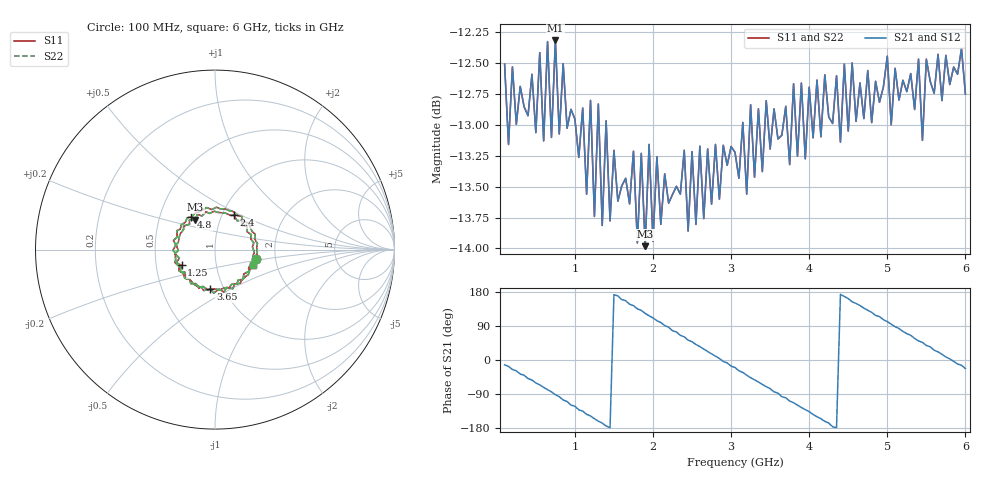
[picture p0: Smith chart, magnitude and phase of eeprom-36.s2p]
! Created with skrf 2.0.0 (http://scikit-rf.org).
# Hz S RI R 50.0
!freq ReS11 ImS11 ReS21 ImS21 ReS12 ImS12 ReS22 ImS22
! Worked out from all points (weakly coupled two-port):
!   119 points, 100 MHz to 6 GHz, reference 50 ohm
!   highest |S21| = -12.32 dB at 750 MHz (marker M1); lowest = -14.0 dB at 1.9 GHz (marker M2)
!   lowest |S11| = -14.0 dB at 1.9 GHz (marker M3), VSWR 1.50, Z = 38.2 + j13.3 ohm
!   |S11| at or under -10 dB: start of sweep to end of sweep
!   |S22| runs from -14.0 to -12.3 dB; largest |S21 - S12| = 0
!   S11 on the Smith chart (normalised r, x): 100 MHz: 1.59, -0.18; 1.25 GHz: 0.68, -0.12; 2.4 GHz: 1.14, +0.46; 3.65 GHz: 0.86, -0.40; 4.8 GHz: 0.72, +0.28; 6 GHz: 1.51, -0.28
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1e8  0.2311 -0.0521  0.2311 -0.0521  0.2311 -0.0521  0.2311 -0.0521
4.5e8  0.1416 -0.1872  0.1416 -0.1872  0.1416 -0.1872  0.1416 -0.1872
7.5e8  -0.00722 -0.2421  -0.00722 -0.2421  -0.00722 -0.2421  -0.00722 -0.2421
1.1e9  -0.1602 -0.1614  -0.1602 -0.1614  -0.1602 -0.1614  -0.1602 -0.1614
1.25e9  -0.1862 -0.087  -0.1862 -0.087  -0.1862 -0.087  -0.1862 -0.087
1.3e9  -0.2163 -0.0729  -0.2163 -0.0729  -0.2163 -0.0729  -0.2163 -0.0729
1.35e9  -0.1983 -0.0474  -0.1983 -0.0474  -0.1983 -0.0474  -0.1983 -0.0474
1.5e9  -0.2167 0.0289  -0.2167 0.0289  -0.2167 0.0289  -0.2167 0.0289
1.9e9  -0.1089 0.1677  -0.1089 0.1677  -0.1089 0.1677  -0.1089 0.1677
1.95e9  -0.0986 0.1965  -0.0986 0.1965  -0.0986 0.1965  -0.0986 0.1965
2.1e9  -0.0317 0.2016  -0.0317 0.2016  -0.0317 0.2016  -0.0317 0.2016
2.4e9  0.1054 0.1916  0.1054 0.1916  0.1054 0.1916  0.1054 0.1916
2.7e9  0.2024 0.0833  0.2024 0.0833  0.2024 0.0833  0.2024 0.0833
3.05e9  0.2055 -0.0735  0.2055 -0.0735  0.2055 -0.0735  0.2055 -0.0735
3.35e9  0.1208 -0.1925  0.1208 -0.1925  0.1208 -0.1925  0.1208 -0.1925
3.65e9  -0.0267 -0.2201  -0.0267 -0.2201  -0.0267 -0.2201  -0.0267 -0.2201
4.05e9  -0.1782 -0.131  -0.1782 -0.131  -0.1782 -0.131  -0.1782 -0.131
4.45e9  -0.2314 0.0509  -0.2314 0.0509  -0.2314 0.0509  -0.2314 0.0509
4.8e9  -0.1312 0.182  -0.1312 0.182  -0.1312 0.182  -0.1312 0.182
5.05e9  -0.0175 0.2232  -0.0175 0.2232  -0.0175 0.2232  -0.0175 0.2232
5.5e9  0.1866 0.1478  0.1866 0.1478  0.1866 0.1478  0.1866 0.1478
6e9  0.213 -0.088  0.213 -0.088  0.213 -0.088  0.213 -0.088
